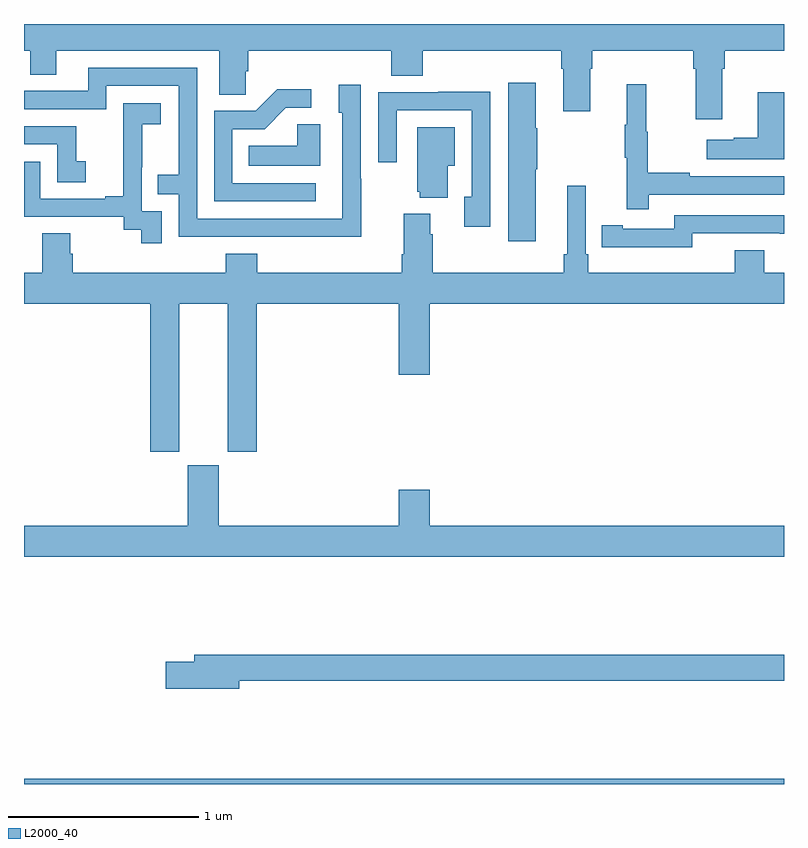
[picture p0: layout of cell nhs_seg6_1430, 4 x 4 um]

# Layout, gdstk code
import gdstk
lib = gdstk.Library(unit=1e-6, precision=1e-09)
def R(c, l, rs):  # rectangles x0, y0, x1, y1
    for r in rs: c.add(gdstk.rectangle(r[:2], r[2:], *l))
def P(c, l, *ps):  # polygons
    for p in ps: c.add(gdstk.Polygon(p, *l))
L2000_40 = (2000, 40)

nhs_seg6_1430 = lib.new_cell('nhs_seg6_1430')
R(nhs_seg6_1430, L2000_40, [(199,919.5,203,919.528)])
P(nhs_seg6_1430, L2000_40, [(202.675,923.264),(202.688,923.264),(202.688,923.36),(203,923.36),(203,923.5),(199,923.5),(199,923.36),(199.032,923.36),(199.032,923.233),(199.171,923.233),(199.171,923.36),(200.027,923.36),(200.027,923.128),(200.166,923.128),(200.166,923.251),(200.18,923.251),(200.18,923.36),(200.933,923.36),(200.933,923.227),(201.098,923.227),(201.098,923.36),(201.827,923.36),(201.827,923.264),(201.839,923.264),(201.839,923.04),(201.979,923.04),(201.979,923.264),(201.992,923.264),(201.992,923.36),(202.523,923.36),(202.523,923.264),(202.535,923.264),(202.535,922.998),(202.675,922.998)],
  [(200.775,922.685),(200.772,922.685),(200.772,923.179),(200.657,923.179),(200.657,923.034),(200.676,923.034),(200.676,922.476),(199.911,922.476),(199.911,923.271),(199.337,923.271),(199.337,923.148),(199,923.148),(199,923.052),(199.434,923.052),(199.434,923.175),(199.815,923.175),(199.815,922.706),(199.705,922.706),(199.705,922.605),(199.815,922.605),(199.815,922.38),(200.311,922.38),(200.311,922.379),(200.775,922.379)],
  [(201.694,922.735),(201.702,922.735),(201.702,922.952),(201.694,922.952),(201.694,923.191),(201.548,923.191),(201.548,922.356),(201.694,922.356)],
  [(202.289,922.602),(203,922.602),(203,922.698),(202.505,922.698),(202.505,922.718),(202.282,922.718),(202.282,922.932),(202.274,922.932),(202.274,923.182),(202.172,923.182),(202.172,922.969),(202.161,922.969),(202.161,922.795),(202.172,922.795),(202.172,922.524),(202.289,922.524)],
  [(200.536,922.662),(200.097,922.662),(200.097,922.947),(200.266,922.947),(200.377,923.058),(200.512,923.058),(200.512,923.156),(200.333,923.156),(200.22,923.043),(200.001,923.043),(200.001,922.566),(200.536,922.566)],
  [(201.453,923.144),(201.181,923.144),(201.181,923.142),(200.865,923.142),(200.865,922.773),(200.961,922.773),(200.961,923.046),(201.357,923.046),(201.357,922.59),(201.317,922.59),(201.317,922.434),(201.453,922.434)],
  [(203,923.14),(202.862,923.14),(202.862,922.901),(202.736,922.901),(202.736,922.891),(202.593,922.891),(202.593,922.787),(203,922.787)],
  [(199.725,922.515),(199.62,922.515),(199.62,922.745),(199.622,922.745),(199.622,922.973),(199.72,922.973),(199.72,923.083),(199.522,923.083),(199.522,922.877),(199.523,922.877),(199.523,922.594),(199.427,922.594),(199.427,922.581),(199.086,922.581),(199.086,922.776),(199,922.776),(199,922.485),(199.524,922.485),(199.524,922.417),(199.617,922.417),(199.617,922.347),(199.725,922.347)],
  [(200.56,922.973),(200.439,922.973),(200.439,922.858),(200.182,922.858),(200.182,922.754),(200.56,922.754)],
  [(199.324,922.777),(199.275,922.777),(199.275,922.962),(199,922.962),(199,922.866),(199.176,922.866),(199.176,922.668),(199.324,922.668)],
  [(201.229,922.754),(201.268,922.754),(201.268,922.957),(201.071,922.957),(201.071,922.617),(201.083,922.617),(201.083,922.586),(201.229,922.586)],
  [(199.816,922.028),(200.072,922.028),(200.072,921.249),(200.225,921.249),(200.225,922.028),(200.972,922.028),(200.972,921.654),(201.136,921.654),(201.136,922.028),(203,922.028),(203,922.192),(202.895,922.192),(202.895,922.309),(202.742,922.309),(202.742,922.192),(201.971,922.192),(201.971,922.288),(201.957,922.288),(201.957,922.648),(201.86,922.648),(201.86,922.288),(201.841,922.288),(201.841,922.192),(201.152,922.192),(201.152,922.394),(201.139,922.394),(201.139,922.501),(200.999,922.501),(200.999,922.288),(200.987,922.288),(200.987,922.192),(200.228,922.192),(200.228,922.291),(200.063,922.291),(200.063,922.192),(199.256,922.192),(199.256,922.29),(199.243,922.29),(199.243,922.4),(199.096,922.4),(199.096,922.192),(199,922.192),(199,922.028),(199.664,922.028),(199.664,921.249),(199.816,921.249)],
  [(202.518,922.398),(202.978,922.398),(202.978,922.397),(203,922.397),(203,922.494),(202.422,922.494),(202.422,922.422),(202.15,922.422),(202.15,922.442),(202.042,922.442),(202.042,922.326),(202.15,922.326),(202.15,922.325),(202.518,922.325)],
  [(203,920.86),(201.136,920.86),(201.136,921.049),(200.972,921.049),(200.972,920.86),(200.026,920.86),(200.026,921.177),(199.862,921.177),(199.862,920.86),(199,920.86),(199,920.696),(203,920.696)],
  [(200.134,920.044),(203,920.044),(203,920.18),(199.895,920.18),(199.895,920.144),(199.746,920.144),(199.746,920.002),(200.134,920.002)])

lib.write_gds('nhs_seg6_1430.gds')
